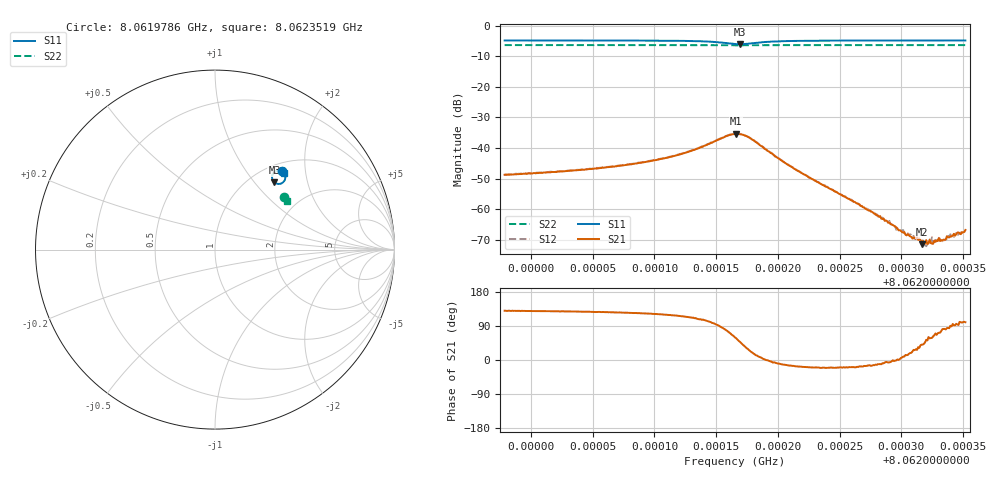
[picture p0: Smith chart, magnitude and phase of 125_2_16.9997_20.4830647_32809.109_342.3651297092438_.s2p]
#  HZ  S  RI  R  50.00
! Rohde & Schwarz Vector Network Analyzer
! Rohde-Schwarz,ZNB20-2Port,1311601062101988,3.16
! Created: UTC 3/20/2024, 10:57:42 PM
! freq[Hz]  re:S11  im:S11  re:S21  im:S21  re:S12  im:S12  re:S22  im:S22
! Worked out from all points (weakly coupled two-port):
!   401 points, 8.0619786 GHz to 8.0623519 GHz, reference 50 ohm
!   highest |S21| = -35.32 dB at 8.0621662 GHz (marker M1); lowest = -71.5 dB at 8.0623164 GHz (marker M2)
!   lowest |S11| = -6.0 dB at 8.062169 GHz (marker M3), VSWR 3.00, Z = 63.8 + j63.7 ohm
!   |S11| at or under -10 dB: nowhere
!   |S22| runs from -6.4 to -6.3 dB; largest |S21 - S12| = 0.0012
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8.06197863e9  0.375 0.4367  -0.00235 0.00279  -0.0022 0.00296  0.3866 0.2904
8.06204115e9  0.3807 0.4309  -0.0027 0.0035  -0.00248 0.00368  0.3886 0.2873
8.06208314e9  0.3857 0.4243  -0.00308 0.00458  -0.00283 0.00475  0.3901 0.285
8.06210367e9  0.3885 0.4189  -0.00334 0.00558  -0.00305 0.00587  0.3907 0.2838
8.06212793e9  0.3919 0.4068  -0.00341 0.00803  -0.00295 0.00832  0.3915 0.282
8.06215032e9  0.3844 0.3805  -0.000777 0.0133  3.7e-05 0.0135  0.3915 0.2801
8.06216525e9  0.3441 0.3672  0.00861 0.0147  0.00956 0.0142  0.3899 0.2795
8.06216618e9  0.3405 0.3685  0.00924 0.0144  0.0103 0.0138  0.39 0.2796
8.06216898e9  0.3308 0.3746  0.0111 0.0127  0.012 0.012  0.3896 0.2799
8.06217831e9  0.3179 0.4064  0.0131 0.00522  0.0135 0.00444  0.3899 0.281
8.06220444e9  0.3483 0.4394  0.00581 -0.00126  0.00576 -0.00163  0.3926 0.2807
8.06222777e9  0.3628 0.4393  0.00292 -0.00106  0.0029 -0.00126  0.394 0.2796
8.06226415e9  0.3732 0.4357  0.00118 -0.000382  0.00119 -0.000431  0.3953 0.2776
8.06229028e9  0.3773 0.4333  0.000599 -6.57e-05  0.000635 -0.000102  0.3964 0.2761
8.06230428e9  0.3792 0.4322  0.000364 8.19e-05  0.000367 6.9e-05  0.397 0.2754
8.06231641e9  0.3805 0.4314  0.000204 0.000173  0.000239 0.000169  0.3973 0.2747
8.06232014e9  0.3809 0.4311  0.000185 0.000249  0.000157 0.000191  0.3974 0.2745
8.06232201e9  0.3811 0.431  0.000137 0.000242  0.000186 0.000204  0.3975 0.2745
8.06232667e9  0.3816 0.4305  0.000127 0.000277  0.000167 0.000254  0.3977 0.2743
8.0623332e9  0.3822 0.4301  4.69e-05 0.000305  5.46e-05 0.000303  0.3978 0.2739
8.06233973e9  0.3828 0.4296  -2.42e-06 0.000355  3.12e-05 0.000387  0.3981 0.2735
8.06235186e9  0.3841 0.4288  -7.69e-05 0.000449  -6.36e-05 0.000423  0.3984 0.273
